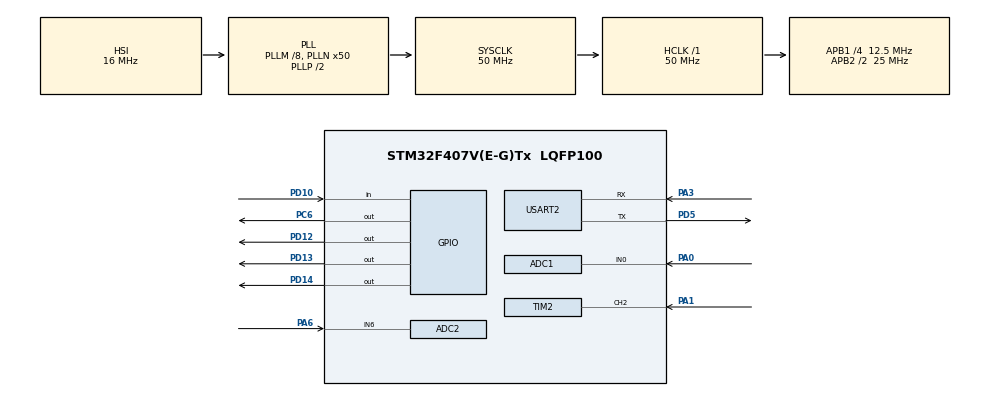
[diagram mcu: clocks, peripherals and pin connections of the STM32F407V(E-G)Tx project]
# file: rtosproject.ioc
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ADC1.Channel-0\#ChannelRegularConversion=ADC_CHANNEL_0
ADC1.ClockPrescaler=ADC_CLOCK_SYNC_PCLK_DIV4
ADC1.NbrOfConversionFlag=1
ADC1.Rank-0\#ChannelRegularConversion=1
ADC1.SamplingTime-0\#ChannelRegularConversion=ADC_SAMPLETIME_3CYCLES
ADC1.master=1
ADC2.Channel-6\#ChannelRegularConversion=ADC_CHANNEL_6
ADC2.ClockPrescaler=ADC_CLOCK_SYNC_PCLK_DIV4
ADC2.NbrOfConversionFlag=1
ADC2.Rank-6\#ChannelRegularConversion=1
ADC2.SamplingTime-6\#ChannelRegularConversion=ADC_SAMPLETIME_3CYCLES
FREERTOS.Tasks01=gas,2,128,rotsgas,Default,NULL,Dynamic,NULL,NULL;ultra,-1,128,rtosultra,Default,NULL,Dynamic,NULL,NULL;RTOSIRRIGATION,0,128,IRRIGATION,Default,NULL,Dynamic,NULL,NULL;IRSENSOR,1,128,RTOSIRSENSOR,Default,NULL,Dynamic,NULL,NULL
FREERTOS.configUSE_NEWLIB_REENTRANT=1
Mcu.Family=STM32F4
Mcu.Name=STM32F407V(E-G)Tx
Mcu.Package=LQFP100
NVIC.PriorityGroup=NVIC_PRIORITYGROUP_4
NVIC.TIM1_UP_TIM10_IRQn=true\:15\:0\:false\:false\:true\:false\:false\:true\:true
NVIC.TimeBase=TIM1_UP_TIM10_IRQn
NVIC.TimeBaseIP=TIM1
PA0-WKUP.Signal=ADCx_IN0
PA1.Signal=S_TIM2_CH2
PA3.Mode=Asynchronous
PA3.Signal=USART2_RX
PA6.Signal=ADCx_IN6
PC6.Signal=GPIO_Output
PD10.Signal=GPIO_Input
PD12.Signal=GPIO_Output
PD13.Signal=GPIO_Output
PD14.Signal=GPIO_Output
PD5.Mode=Asynchronous
PD5.Signal=USART2_TX
ProjectManager.HeapSize=0x200
ProjectManager.StackSize=0x400
ProjectManager.TargetToolchain=STM32CubeIDE
RCC.48MHZClocksFreq_Value=14285714.285714285
RCC.AHBFreq_Value=50000000
RCC.APB1CLKDivider=RCC_HCLK_DIV4
RCC.APB1Freq_Value=12500000
RCC.APB1TimFreq_Value=25000000
RCC.APB2CLKDivider=RCC_HCLK_DIV2
RCC.APB2Freq_Value=25000000
RCC.APB2TimFreq_Value=50000000
RCC.CortexFreq_Value=50000000
RCC.HCLKFreq_Value=50000000
RCC.HSE_VALUE=8000000
RCC.HSI_VALUE=16000000
RCC.LSE_VALUE=32768
RCC.PLLM=8
RCC.PLLN=50
RCC.PLLQ=7
RCC.SYSCLKFreq_VALUE=50000000
RCC.SYSCLKSource=RCC_SYSCLKSOURCE_PLLCLK
RCC.VCOOutputFreq_Value=100000000
SH.ADCx_IN0.0=ADC1_IN0,IN0
SH.ADCx_IN6.0=ADC2_IN6,IN6
SH.S_TIM2_CH2.0=TIM2_CH2,Input_Capture2_from_TI2
TIM2.Channel-Input_Capture2_from_TI2=TIM_CHANNEL_2
TIM2.Period=65535
TIM2.Prescaler=84-1
USART2.VirtualMode=VM_ASYNC
VP_FREERTOS_VS_CMSIS_V1.Mode=CMSIS_V1
VP_SYS_VS_tim1.Mode=TIM1
VP_TIM2_VS_ClockSourceINT.Mode=Internal
board=STM32F407G-DISC1

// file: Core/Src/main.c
/* USER CODE BEGIN Header */
/**
  ******************************************************************************
  * @file           : main.c
  * @brief          : Main program body
  ******************************************************************************
  * @attention
  *
  * Copyright (c) 2025 STMicroelectronics.
  * All rights reserved.
  *
  * This software is licensed under terms that can be found in the LICENSE file
  * in the root directory of this software component.
  * If no LICENSE file comes with this software, it is provided AS-IS.
  *
  ******************************************************************************
  */
/* USER CODE END Header */
#include "main.h"
#include "cmsis_os.h"

/* USER CODE BEGIN Includes */
#include<string.h>
#include<stdio.h>

/* USER CODE END Includes */

ADC_HandleTypeDef hadc1;
ADC_HandleTypeDef hadc2;

TIM_HandleTypeDef htim2;

UART_HandleTypeDef huart2;

osThreadId gasHandle;
osThreadId ultraHandle;
osThreadId RTOSIRRIGATIONHandle;
osThreadId IRSENSORHandle;
/* USER CODE BEGIN PV */
volatile uint32_t ic_val1=0;
volatile uint32_t ic_val2=0;
volatile uint8_t is_first_captured=0;
volatile uint32_t difference=0;
volatile uint8_t distance =0;

/* USER CODE END PV */

void SystemClock_Config(void);
static void MX_GPIO_Init(void);
static void MX_ADC1_Init(void);
static void MX_USART2_UART_Init(void);
static void MX_TIM2_Init(void);
static void MX_ADC2_Init(void);
void rotsgas(void const * argument);
void rtosultra(void const * argument);
void IRRIGATION(void const * argument);
void RTOSIRSENSOR(void const * argument);

/* USER CODE BEGIN PFP */
void delay_us(uint16_t us)
{
	__HAL_TIM_SET_COUNTER(&htim2,0);
	while(__HAL_TIM_GET_COUNTER(&htim2)<us);
}

void trigger_HCSR04(void)
{
	HAL_GPIO_WritePin(GPIOC, GPIO_PIN_6,GPIO_PIN_RESET);
	delay_us(2);
	HAL_GPIO_WritePin(GPIOC, GPIO_PIN_6,GPIO_PIN_SET);
	delay_us(10);
	HAL_GPIO_WritePin(GPIOC, GPIO_PIN_6,GPIO_PIN_RESET);
}

void HAL_TIM_IC_CaptureCallback(TIM_HandleTypeDef *htim)
	{
        	if(htim->Instance == TIM2 && htim->Channel == HAL_TIM_ACTIVE_CHANNEL_2)

			{
				if(is_first_captured==0)
				{
					ic_val1=HAL_TIM_ReadCapturedValue(htim, TIM_CHANNEL_2);
					__HAL_TIM_SET_CAPTUREPOLARITY(htim,TIM_CHANNEL_2,TIM_INPUTCHANNELPOLARITY_FALLING);
					is_first_captured=1;
				}
				else if(is_first_captured==1)
				{
					ic_val2=HAL_TIM_ReadCapturedValue(htim, TIM_CHANNEL_2);
					__HAL_TIM_SET_COUNTER(htim,0);

					if(ic_val2>ic_val1)
						difference=ic_val2-ic_val1;
					else
						difference=(0xFFFF- ic_val1) + ic_val2;		//for buffer overflow mechanism

					distance = (float)difference *0.034/2; //for conversion of cm
					distance*=10;
					is_first_captured=0;
					__HAL_TIM_SET_CAPTUREPOLARITY(htim,TIM_CHANNEL_2,TIM_INPUTCHANNELPOLARITY_RISING);
					HAL_TIM_IC_Stop(htim, TIM_CHANNEL_2);
				}
			}
	}

/* USER CODE END PFP */

int main(void)
{

  /* MCU Configuration--------------------------------------------------------*/

  /* Reset of all peripherals, Initializes the Flash interface and the Systick. */
  HAL_Init();

  /* Configure the system clock */
  SystemClock_Config();

  /* Initialize all configured peripherals */
  MX_GPIO_Init();
  MX_ADC1_Init();
  MX_USART2_UART_Init();
  MX_TIM2_Init();
  MX_ADC2_Init();

  /* Create the thread(s) */
  /* definition and creation of gas */
  osThreadDef(gas, rotsgas, osPriorityHigh, 0, 128);
  gasHandle = osThreadCreate(osThread(gas), NULL);

  /* definition and creation of ultra */
  osThreadDef(ultra, rtosultra, osPriorityBelowNormal, 0, 128);
  ultraHandle = osThreadCreate(osThread(ultra), NULL);

  /* definition and creation of RTOSIRRIGATION */
  osThreadDef(RTOSIRRIGATION, IRRIGATION, osPriorityNormal, 0, 128);
  RTOSIRRIGATIONHandle = osThreadCreate(osThread(RTOSIRRIGATION), NULL);

  /* definition and creation of IRSENSOR */
  osThreadDef(IRSENSOR, RTOSIRSENSOR, osPriorityAboveNormal, 0, 128);
  IRSENSORHandle = osThreadCreate(osThread(IRSENSOR), NULL);

  /* Start scheduler */
  osKernelStart();

  /* We should never get here as control is now taken by the scheduler */

  /* Infinite loop */
  while (1)
  {

  }
}

void SystemClock_Config(void)
{
  RCC_OscInitTypeDef RCC_OscInitStruct = {0};
  RCC_ClkInitTypeDef RCC_ClkInitStruct = {0};

  /** Configure the main internal regulator output voltage
  */
  __HAL_RCC_PWR_CLK_ENABLE();
  __HAL_PWR_VOLTAGESCALING_CONFIG(PWR_REGULATOR_VOLTAGE_SCALE1);

  /** Initializes the RCC Oscillators according to the specified parameters
  * in the RCC_OscInitTypeDef structure.
  */
  RCC_OscInitStruct.OscillatorType = RCC_OSCILLATORTYPE_HSI;
  RCC_OscInitStruct.HSIState = RCC_HSI_ON;
  RCC_OscInitStruct.HSICalibrationValue = RCC_HSICALIBRATION_DEFAULT;
  RCC_OscInitStruct.PLL.PLLState = RCC_PLL_ON;
  RCC_OscInitStruct.PLL.PLLSource = RCC_PLLSOURCE_HSI;
  RCC_OscInitStruct.PLL.PLLM = 8;
  RCC_OscInitStruct.PLL.PLLN = 50;
  RCC_OscInitStruct.PLL.PLLP = RCC_PLLP_DIV2;
  RCC_OscInitStruct.PLL.PLLQ = 7;
  if (HAL_RCC_OscConfig(&RCC_OscInitStruct) != HAL_OK)
  {
    Error_Handler();
  }

  /** Initializes the CPU, AHB and APB buses clocks
  */
  RCC_ClkInitStruct.ClockType = RCC_CLOCKTYPE_HCLK|RCC_CLOCKTYPE_SYSCLK
                              |RCC_CLOCKTYPE_PCLK1|RCC_CLOCKTYPE_PCLK2;
  RCC_ClkInitStruct.SYSCLKSource = RCC_SYSCLKSOURCE_PLLCLK;
  RCC_ClkInitStruct.AHBCLKDivider = RCC_SYSCLK_DIV1;
  RCC_ClkInitStruct.APB1CLKDivider = RCC_HCLK_DIV4;
  RCC_ClkInitStruct.APB2CLKDivider = RCC_HCLK_DIV2;

  if (HAL_RCC_ClockConfig(&RCC_ClkInitStruct, FLASH_LATENCY_1) != HAL_OK)
  {
    Error_Handler();
  }
}

static void MX_ADC1_Init(void)
{

  ADC_ChannelConfTypeDef sConfig = {0};

  /** Configure the global features of the ADC (Clock, Resolution, Data Alignment and number of conversion)
  */
  hadc1.Instance = ADC1;
  hadc1.Init.ClockPrescaler = ADC_CLOCK_SYNC_PCLK_DIV4;
  hadc1.Init.Resolution = ADC_RESOLUTION_12B;
  hadc1.Init.ScanConvMode = DISABLE;
  hadc1.Init.ContinuousConvMode = DISABLE;
  hadc1.Init.DiscontinuousConvMode = DISABLE;
  hadc1.Init.ExternalTrigConvEdge = ADC_EXTERNALTRIGCONVEDGE_NONE;
  hadc1.Init.ExternalTrigConv = ADC_SOFTWARE_START;
  hadc1.Init.DataAlign = ADC_DATAALIGN_RIGHT;
  hadc1.Init.NbrOfConversion = 1;
  hadc1.Init.DMAContinuousRequests = DISABLE;
  hadc1.Init.EOCSelection = ADC_EOC_SINGLE_CONV;
  if (HAL_ADC_Init(&hadc1) != HAL_OK)
  {
    Error_Handler();
  }

  /** Configure for the selected ADC regular channel its corresponding rank in the sequencer and its sample time.
  */
  sConfig.Channel = ADC_CHANNEL_0;
  sConfig.Rank = 1;
  sConfig.SamplingTime = ADC_SAMPLETIME_3CYCLES;
  if (HAL_ADC_ConfigChannel(&hadc1, &sConfig) != HAL_OK)
  {
    Error_Handler();
  }

}

static void MX_ADC2_Init(void)
{

  ADC_ChannelConfTypeDef sConfig = {0};

  /** Configure the global features of the ADC (Clock, Resolution, Data Alignment and number of conversion)
  */
  hadc2.Instance = ADC2;
  hadc2.Init.ClockPrescaler = ADC_CLOCK_SYNC_PCLK_DIV4;
  hadc2.Init.Resolution = ADC_RESOLUTION_12B;
  hadc2.Init.ScanConvMode = DISABLE;
  hadc2.Init.ContinuousConvMode = DISABLE;
  hadc2.Init.DiscontinuousConvMode = DISABLE;
  hadc2.Init.ExternalTrigConvEdge = ADC_EXTERNALTRIGCONVEDGE_NONE;
  hadc2.Init.ExternalTrigConv = ADC_SOFTWARE_START;
  hadc2.Init.DataAlign = ADC_DATAALIGN_RIGHT;
  hadc2.Init.NbrOfConversion = 1;
  hadc2.Init.DMAContinuousRequests = DISABLE;
  hadc2.Init.EOCSelection = ADC_EOC_SINGLE_CONV;
  if (HAL_ADC_Init(&hadc2) != HAL_OK)
  {
    Error_Handler();
  }

  /** Configure for the selected ADC regular channel its corresponding rank in the sequencer and its sample time.
  */
  sConfig.Channel = ADC_CHANNEL_6;
  sConfig.Rank = 1;
  sConfig.SamplingTime = ADC_SAMPLETIME_3CYCLES;
  if (HAL_ADC_ConfigChannel(&hadc2, &sConfig) != HAL_OK)
  {
    Error_Handler();
  }

}

static void MX_TIM2_Init(void)
{

  TIM_ClockConfigTypeDef sClockSourceConfig = {0};
  TIM_MasterConfigTypeDef sMasterConfig = {0};
  TIM_IC_InitTypeDef sConfigIC = {0};

  htim2.Instance = TIM2;
  htim2.Init.Prescaler = 84-1;
  htim2.Init.CounterMode = TIM_COUNTERMODE_UP;
  htim2.Init.Period = 65535;
  htim2.Init.ClockDivision = TIM_CLOCKDIVISION_DIV1;
  htim2.Init.AutoReloadPreload = TIM_AUTORELOAD_PRELOAD_DISABLE;
  if (HAL_TIM_Base_Init(&htim2) != HAL_OK)
  {
    Error_Handler();
  }
  sClockSourceConfig.ClockSource = TIM_CLOCKSOURCE_INTERNAL;
  if (HAL_TIM_ConfigClockSource(&htim2, &sClockSourceConfig) != HAL_OK)
  {
    Error_Handler();
  }
  if (HAL_TIM_IC_Init(&htim2) != HAL_OK)
  {
    Error_Handler();
  }
  sMasterConfig.MasterOutputTrigger = TIM_TRGO_RESET;
  sMasterConfig.MasterSlaveMode = TIM_MASTERSLAVEMODE_DISABLE;
  if (HAL_TIMEx_MasterConfigSynchronization(&htim2, &sMasterConfig) != HAL_OK)
  {
    Error_Handler();
  }
  sConfigIC.ICPolarity = TIM_INPUTCHANNELPOLARITY_RISING;
  sConfigIC.ICSelection = TIM_ICSELECTION_DIRECTTI;
  sConfigIC.ICPrescaler = TIM_ICPSC_DIV1;
  sConfigIC.ICFilter = 0;
  if (HAL_TIM_IC_ConfigChannel(&htim2, &sConfigIC, TIM_CHANNEL_2) != HAL_OK)
  {
    Error_Handler();
  }

}

static void MX_USART2_UART_Init(void)
{

  huart2.Instance = USART2;
  huart2.Init.BaudRate = 115200;
  huart2.Init.WordLength = UART_WORDLENGTH_8B;
  huart2.Init.StopBits = UART_STOPBITS_1;
  huart2.Init.Parity = UART_PARITY_NONE;
  huart2.Init.Mode = UART_MODE_TX_RX;
  huart2.Init.HwFlowCtl = UART_HWCONTROL_NONE;
  huart2.Init.OverSampling = UART_OVERSAMPLING_16;
  if (HAL_UART_Init(&huart2) != HAL_OK)
  {
    Error_Handler();
  }

}

static void MX_GPIO_Init(void)
{
  GPIO_InitTypeDef GPIO_InitStruct = {0};

  /* GPIO Ports Clock Enable */
  __HAL_RCC_GPIOA_CLK_ENABLE();
  __HAL_RCC_GPIOD_CLK_ENABLE();
  __HAL_RCC_GPIOC_CLK_ENABLE();

  /*Configure GPIO pin Output Level */
  HAL_GPIO_WritePin(GPIOD, GPIO_PIN_12|GPIO_PIN_13|GPIO_PIN_14, GPIO_PIN_RESET);

  /*Configure GPIO pin Output Level */
  HAL_GPIO_WritePin(GPIOC, GPIO_PIN_6, GPIO_PIN_RESET);

  /*Configure GPIO pin : PD10 */
  GPIO_InitStruct.Pin = GPIO_PIN_10;
  GPIO_InitStruct.Mode = GPIO_MODE_INPUT;
  GPIO_InitStruct.Pull = GPIO_NOPULL;
  HAL_GPIO_Init(GPIOD, &GPIO_InitStruct);

  /*Configure GPIO pins : PD12 PD13 PD14 */
  GPIO_InitStruct.Pin = GPIO_PIN_12|GPIO_PIN_13|GPIO_PIN_14;
  GPIO_InitStruct.Mode = GPIO_MODE_OUTPUT_PP;
  GPIO_InitStruct.Pull = GPIO_NOPULL;
  GPIO_InitStruct.Speed = GPIO_SPEED_FREQ_LOW;
  HAL_GPIO_Init(GPIOD, &GPIO_InitStruct);

  /*Configure GPIO pin : PC6 */
  GPIO_InitStruct.Pin = GPIO_PIN_6;
  GPIO_InitStruct.Mode = GPIO_MODE_OUTPUT_PP;
  GPIO_InitStruct.Pull = GPIO_NOPULL;
  GPIO_InitStruct.Speed = GPIO_SPEED_FREQ_LOW;
  HAL_GPIO_Init(GPIOC, &GPIO_InitStruct);

}

void rotsgas(void const * argument)
{
  /* USER CODE BEGIN 5 */

  /* Infinite loop */
	 for(;;)
	    {
	        HAL_ADC_Start(&hadc1);
	        HAL_ADC_PollForConversion(&hadc1, HAL_MAX_DELAY);
	        uint16_t value = HAL_ADC_GetValue(&hadc1);
	        HAL_ADC_Stop(&hadc1);

		    if(value > 1250)
	            HAL_GPIO_WritePin(GPIOD, GPIO_PIN_13, GPIO_PIN_SET); // LED ON
	        else
	            HAL_GPIO_WritePin(GPIOD, GPIO_PIN_13, GPIO_PIN_RESET); // LED OFF

	        osDelay(500);
	    }
  /* USER CODE END 5 */
}

void rtosultra(void const * argument)
{
  /* USER CODE BEGIN rtosultra */
	//char str[50];
  /* Infinite loop */
	 for(;;)
	    {
	        //trigger_HCSR04();
	        //HAL_TIM_IC_Start_IT(&htim2, TIM_CHANNEL_2);   // <-- Use TIM3

	        //osDelay(50);   // Wait for callback to set distance

	       // sprintf(str, "Distance: %d cm\r\n", distance);
	        //HAL_UART_Transmit(&huart2, (uint8_t *)str, strlen(str), HAL_MAX_DELAY);

	        //osDelay(500);
	    }
  /* USER CODE END rtosultra */
}

void IRRIGATION(void const * argument)
{
  /* USER CODE BEGIN IRRIGATION */

  /* Infinite loop */
  for(;;)
  {
	  HAL_ADC_Start(& hadc2);
	  		HAL_ADC_PollForConversion(& hadc2, HAL_MAX_DELAY);
	  		uint16_t value = HAL_ADC_GetValue(& hadc2);
	  		HAL_ADC_Stop(& hadc2);
	  	  if(value < 10)
	  		HAL_GPIO_WritePin(GPIOD, GPIO_PIN_12, GPIO_PIN_SET); // LED ON
	  		 else
	  		HAL_GPIO_WritePin(GPIOD, GPIO_PIN_12, GPIO_PIN_RESET); // LED OFF

    osDelay(500);
  }
  /* USER CODE END IRRIGATION */
}

void RTOSIRSENSOR(void const * argument)
{
  /* USER CODE BEGIN RTOSIRSENSOR */
	uint8_t signal_on[] = "1\n";
	  uint8_t signal_off[] = "0\n";
  /* Infinite loop */
  for(;;)
  {
	  if (HAL_GPIO_ReadPin(GPIOD, GPIO_PIN_10) == GPIO_PIN_RESET)   // IR detected
	        {
	            HAL_GPIO_WritePin(GPIOD, GPIO_PIN_14, GPIO_PIN_SET);  // LED on STM32
	            HAL_UART_Transmit(&huart2, signal_on, strlen((char*)signal_on), HAL_MAX_DELAY);
	        }
	        else
	        {
	            HAL_GPIO_WritePin(GPIOD, GPIO_PIN_14, GPIO_PIN_RESET); // LED off
	            HAL_UART_Transmit(&huart2, signal_off, strlen((char*)signal_off), HAL_MAX_DELAY);
	        }

    osDelay(500);
  }
  /* USER CODE END RTOSIRSENSOR */
}

void HAL_TIM_PeriodElapsedCallback(TIM_HandleTypeDef *htim)
{
  if (htim->Instance == TIM1)
  {
    HAL_IncTick();
  }
}

void Error_Handler(void)
{
  __disable_irq();
  while (1)
  {
  }
}
